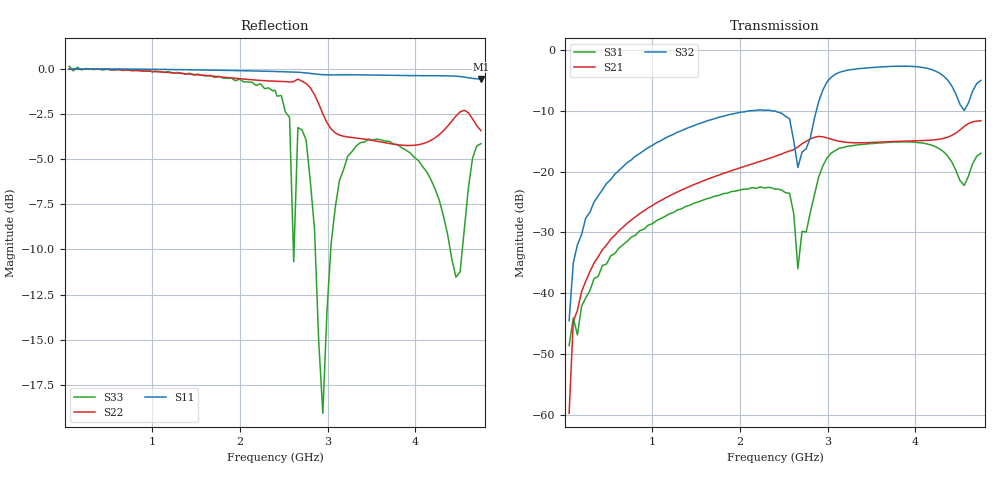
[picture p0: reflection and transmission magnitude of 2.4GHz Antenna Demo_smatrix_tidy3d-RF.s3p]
# Hz S RI R 50.0
!freq ReS11 ImS11 ReS12 ImS12 ReS13 ImS13
! ReS21 ImS21 ReS22 ImS22 ReS23 ImS23
! ReS31 ImS31 ReS32 ImS32 ReS33 ImS33
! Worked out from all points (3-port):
!   101 points, 50 MHz to 4.75 GHz, reference 50 ohm
!   strongest paths, dB at 50 MHz, 1.237 GHz, 2.4 GHz, 3.563 GHz, 4.75 GHz:
!     S32: -44.5, -13.9, -10.0, -2.8, -5.0
!     S21: -59.8, -23.7, -17.5, -15.2, -11.6
!     S31: -48.6, -26.8, -22.9, -15.3, -17.0
!   lowest |S11| = -0.6 dB at 4.75 GHz (marker M1), VSWR 30.66, Z = 73.7 + j324 ohm
!   |S11| at or under -10 dB: nowhere
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5e7  0.9999 0.00262  -0.00011 0.00264  0.000755 0.000975
     -0.00029 0.000984  1 0.0113  0.00552 0.00246
     -0.00106 -0.00355  0.0054 0.00246  1.017 0.0014
5.247475e8  0.9986 0.034  -0.00338 0.0274  -0.00402 0.019
            -0.00336 0.0275  0.9871 0.1289  -0.0163 0.0846
            -0.00386 0.0199  -0.0163 0.0844  0.9657 0.2335
2.4e9  0.9714 0.152  -0.0683 0.1145  -0.0662 0.0284
       -0.0681 0.1146  0.7407 0.5524  -0.2821 0.1429
       -0.0657 0.028  -0.2811 0.1423  -0.0532 0.8716
2.613636e9  0.9653 0.1656  -0.0833 0.1261  -0.0448 -0.0127
            -0.083 0.1267  0.6887 0.6135  -0.1785 -0.0228
            -0.0444 -0.00917  -0.1779 -0.0225  -0.2488 -0.1538
2.661111e9  0.964 0.1696  -0.0868 0.1342  -0.0112 0.0123
            -0.0865 0.1338  0.6729 0.6511  -0.0638 0.0881
            -0.0133 0.00861  -0.0634 0.0873  0.4855 0.4868
2.708586e9  0.9611 0.1733  -0.0966 0.1385  -0.0174 0.0231
            -0.0966 0.1393  0.6343 0.6719  -0.09 0.1147
            -0.0189 0.0261  -0.0889 0.1139  -0.0737 0.6735
2.94596e9  0.9463 0.1804  -0.1493 0.1217  -0.022 0.1096
           -0.1495 0.1224  0.4098 0.6286  -0.0622 0.4638
           -0.0226 0.109  -0.0613 0.4643  0.00528 -0.1112
3.705556e9  0.9361 0.2111  -0.1537 0.0846  -0.171 0.0239
            -0.1545 0.0847  0.3871 0.4861  -0.7119 0.1757
            -0.1723 0.0237  -0.7114 0.1752  -0.0272 0.6296
4.465152e9  0.9186 0.2584  -0.1693 0.1182  -0.0785 -0.0637
            -0.1707 0.1186  0.3636 0.6445  -0.3642 -0.2343
            -0.0801 -0.0632  -0.3644 -0.2349  -0.0454 -0.2611
4.75e9  0.8973 0.2693  -0.2357 0.1127  -0.1347 -0.031
        -0.237 0.112  0.1051 0.6665  -0.5591 -0.0772
        -0.1375 -0.0337  -0.5567 -0.0788  -0.2505 0.5678
